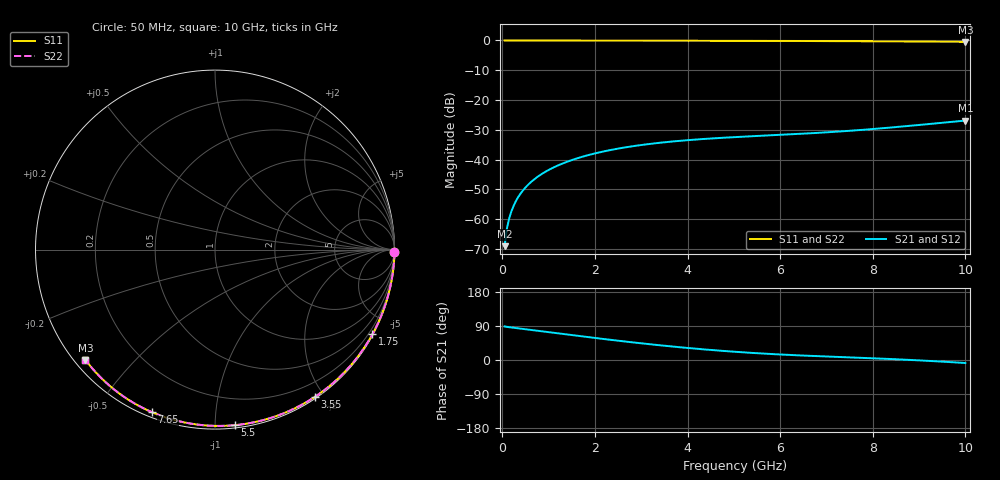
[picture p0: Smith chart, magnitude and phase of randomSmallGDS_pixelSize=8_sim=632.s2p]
! freq	dB(S11)	phase(S11)	dB(S12)	phase(S12)
!  dB(S21)	phase(S21)	dB(S22)	phase(S22)
!S-par simulation data
#  GHz  S  DB  R 50
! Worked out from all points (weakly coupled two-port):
!   200 points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, 50 MHz to 10 GHz, reference 50 ohm
!   highest |S21| = -26.91 dB at 10 GHz (marker M1); lowest = -69.1 dB at 50 MHz (marker M2)
!   lowest |S11| = -0.5 dB at 10 GHz (marker M3), VSWR 37.39, Z = 1.52 - j18.4 ohm
!   |S11| at or under -10 dB: nowhere
!   |S22| runs from -0.5 to 0.0 dB; largest |S21 - S12| = 0
!   S11 on the Smith chart (normalised r, x): 50 MHz: open; 1.75 GHz: 0.03, -3.97; 3.55 GHz: 0.02, -1.88; 5.5 GHz: 0.02, -1.12; 7.65 GHz: 0.02, -0.68; 10 GHz: 0.03, -0.37
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0.05  -0.00 -0.8  -69.09 88.5  -69.09 88.5  -0.00 -0.8
0.1  -0.00 -1.6  -63.14 87.4  -63.14 87.4  -0.00 -1.6
0.15  -0.00 -2.5  -59.68 86.5  -59.68 86.5  -0.00 -2.5
0.2  -0.00 -3.3  -57.23 85.7  -57.23 85.7  -0.00 -3.3
0.25  -0.00 -4.1  -55.33 85.0  -55.33 85.0  -0.00 -4.1
0.35  -0.00 -5.8  -52.45 83.6  -52.45 83.6  -0.00 -5.8
0.5  -0.01 -8.2  -49.39 81.3  -49.39 81.3  -0.01 -8.2
0.7  -0.01 -11.5  -46.52 78.2  -46.52 78.2  -0.01 -11.5
1  -0.02 -16.3  -43.50 73.5  -43.50 73.5  -0.02 -16.3
1.35  -0.03 -21.9  -41.03 68.1  -41.03 68.1  -0.03 -21.9
1.75  -0.04 -28.3  -38.96 61.9  -38.96 61.9  -0.04 -28.3
2.5  -0.05 -40.0  -36.32 50.9  -36.32 50.9  -0.05 -40.0
3.4  -0.07 -53.7  -34.36 38.9  -34.36 38.9  -0.07 -53.7
3.55  -0.08 -55.9  -34.12 37.0  -34.12 37.0  -0.08 -55.9
4.3  -0.10 -66.8  -33.14 28.6  -33.14 28.6  -0.10 -66.8
5.05  -0.12 -77.4  -32.44 21.5  -32.44 21.5  -0.12 -77.4
5.5  -0.14 -83.5  -32.08 17.9  -32.08 17.9  -0.14 -83.5
6.7  -0.19 -99.3  -31.14 10.7  -31.14 10.7  -0.19 -99.3
7.65  -0.25 -111.2  -30.17 6.3  -30.17 6.3  -0.25 -111.2
8.35  -0.30 -119.8  -29.30 2.8  -29.30 2.8  -0.30 -119.8
9.2  -0.38 -130.0  -28.09 -2.3  -28.09 -2.3  -0.38 -130.0
10  -0.46 -139.6  -26.91 -7.9  -26.91 -7.9  -0.46 -139.6
